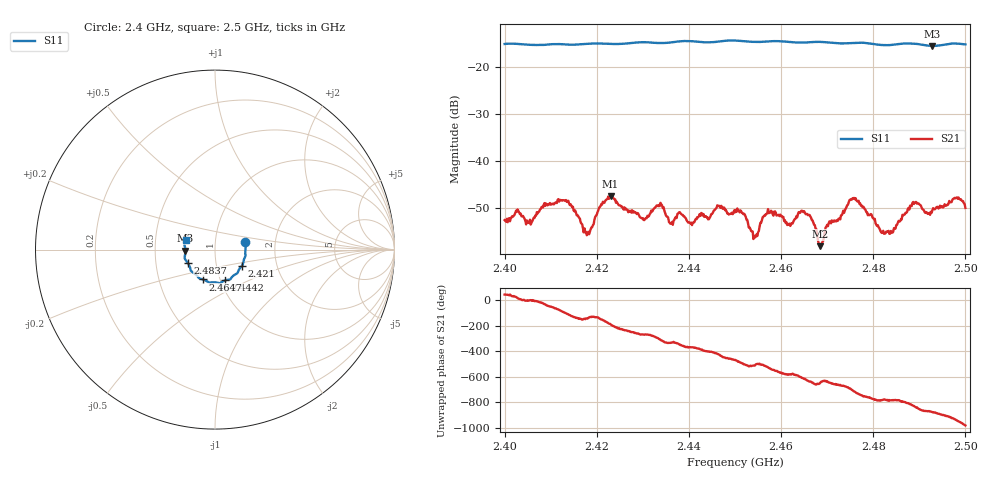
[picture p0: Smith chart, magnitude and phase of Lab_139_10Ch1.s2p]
# Hz S RI R 50
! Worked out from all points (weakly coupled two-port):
!   601 points, 2.4 GHz to 2.5 GHz, reference 50 ohm
!   highest |S21| = -47.49 dB at 2.423 GHz (marker M1); lowest = -58.0 dB at 2.4685 GHz (marker M2)
!   lowest |S11| = -15.6 dB at 2.4928 GHz (marker M3), VSWR 1.40, Z = 35.8 - j0.39 ohm
!   |S11| at or under -10 dB: start of sweep to end of sweep
!   S12 and S22 are empty: the file has one direction only
!   S11 on the Smith chart (normalised r, x): 2.4 GHz: 1.40, +0.12; 2.421 GHz: 1.33, -0.24; 2.4442 GHz: 1.05, -0.37; 2.4647 GHz: 0.83, -0.29; 2.4837 GHz: 0.73, -0.11; 2.5 GHz: 0.72, +0.08
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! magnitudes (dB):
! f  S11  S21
! 2.4 GHz  -15.2  -52.5
! 2.4125 GHz  -15.3  -48.4
! 2.4167 GHz  -15.3  -53.2
! 2.4183 GHz  -15.2  -55.5
! 2.421 GHz  -15.1  -49.1
! 2.423 GHz  -15.2  -47.5
! 2.43 GHz  -14.8  -52.1
! 2.4333 GHz  -15.0  -49.5
! 2.4362 GHz  -14.9  -53.2
! 2.4442 GHz  -14.9  -52.3
! 2.45 GHz  -14.5  -50.8
! 2.4545 GHz  -14.8  -56.0
! 2.4573 GHz  -14.7  -51.0
! 2.4647 GHz  -14.9  -50.6
! 2.4667 GHz  -14.8  -52.4
! 2.4685 GHz  -14.8  -58.0
! 2.4757 GHz  -15.0  -47.9
! 2.4833 GHz  -15.5  -54.8
! 2.4837 GHz  -15.4  -55.4
! 2.4888 GHz  -15.2  -49.1
! 2.4928 GHz  -15.6  -50.4
! 2.5 GHz  -15.3  -49.9
